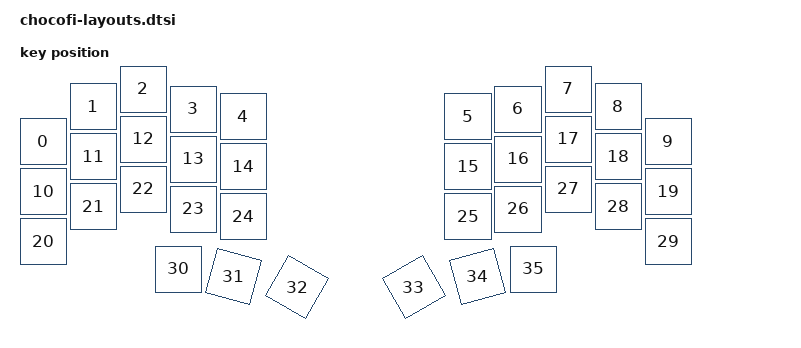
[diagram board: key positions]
#include <physical_layouts.dtsi>

/ {
    physical_layout0: physical_layout_0 {
        compatible = "zmk,physical-layout";
        display-name = "default_transform";

        transform = <&matrix_transform0>;

        keys  //                     w   h    x    y     rot    rx    ry
            = <&key_physical_attrs 100 100    0  105       0     0     0>
            , <&key_physical_attrs 100 100  100   35       0     0     0>
            , <&key_physical_attrs 100 100  200    0       0     0     0>
            , <&key_physical_attrs 100 100  300   40       0     0     0>
            , <&key_physical_attrs 100 100  400   55       0     0     0>
            , <&key_physical_attrs 100 100  850   55       0     0     0>
            , <&key_physical_attrs 100 100  950   40       0     0     0>
            , <&key_physical_attrs 100 100 1050    0       0     0     0>
            , <&key_physical_attrs 100 100 1150   35       0     0     0>
            , <&key_physical_attrs 100 100 1250  105       0     0     0>
            , <&key_physical_attrs 100 100    0  205       0     0     0>
            , <&key_physical_attrs 100 100  100  135       0     0     0>
            , <&key_physical_attrs 100 100  200  100       0     0     0>
            , <&key_physical_attrs 100 100  300  140       0     0     0>
            , <&key_physical_attrs 100 100  400  155       0     0     0>
            , <&key_physical_attrs 100 100  850  155       0     0     0>
            , <&key_physical_attrs 100 100  950  140       0     0     0>
            , <&key_physical_attrs 100 100 1050  100       0     0     0>
            , <&key_physical_attrs 100 100 1150  135       0     0     0>
            , <&key_physical_attrs 100 100 1250  205       0     0     0>
            , <&key_physical_attrs 100 100    0  305       0     0     0>
            , <&key_physical_attrs 100 100  100  235       0     0     0>
            , <&key_physical_attrs 100 100  200  200       0     0     0>
            , <&key_physical_attrs 100 100  300  240       0     0     0>
            , <&key_physical_attrs 100 100  400  255       0     0     0>
            , <&key_physical_attrs 100 100  850  255       0     0     0>
            , <&key_physical_attrs 100 100  950  240       0     0     0>
            , <&key_physical_attrs 100 100 1050  200       0     0     0>
            , <&key_physical_attrs 100 100 1150  235       0     0     0>
            , <&key_physical_attrs 100 100 1250  305       0     0     0>
            , <&key_physical_attrs 100 100  270  360       0     0     0>
            , <&key_physical_attrs 100 100  370  360    1500   370   460>
            , <&key_physical_attrs 100 100  490  365    3000   490   465>
            , <&key_physical_attrs 100 100  760  365 (-3000)   860   465>
            , <&key_physical_attrs 100 100  880  360 (-1500)   980   460>
            , <&key_physical_attrs 100 100  980  360       0     0     0>
            ;
    };
};
